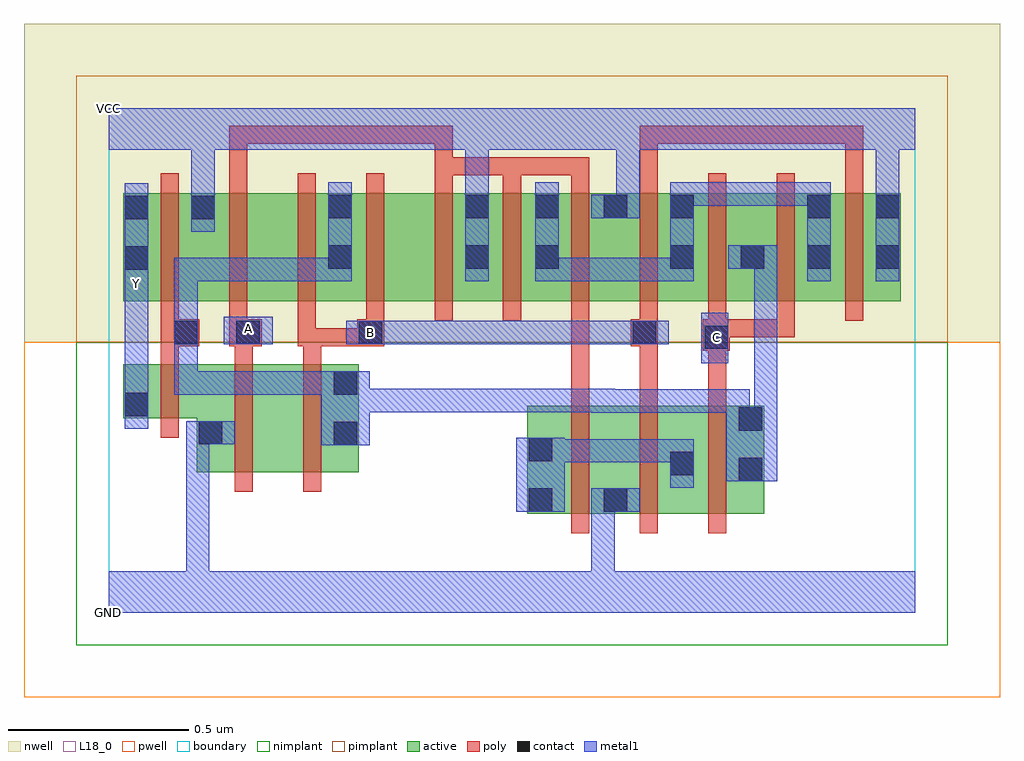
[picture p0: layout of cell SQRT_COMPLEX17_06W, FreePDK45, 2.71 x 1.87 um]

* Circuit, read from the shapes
.subckt SQRT_COMPLEX17_06W A B C GND VCC Y
M1 GND n1 Y VSUBS nfet w=0.15u l=0.05u
M2 n2 A GND VSUBS nfet w=0.3u l=0.05u
M3 n1 B n2 VSUBS nfet w=0.3u l=0.05u
M4 GND A n3 VSUBS nfet w=0.3u l=0.05u
M5 n3 B GND VSUBS nfet w=0.3u l=0.05u
M6 n1 C n3 VSUBS nfet w=0.3u l=0.05u
M7 VCC n1 Y n4 pfet w=0.3u l=0.05u
M8 n5 A VCC n4 pfet w=0.3u l=0.05u
M9 n1 B n5 n4 pfet w=0.3u l=0.05u
M10 n6 B n1 n4 pfet w=0.3u l=0.05u
M11 VCC A n6 n4 pfet w=0.3u l=0.05u
M12 n7 A VCC n4 pfet w=0.3u l=0.05u m=2
M13 n7 B VCC n4 pfet w=0.3u l=0.05u m=2
M14 n1 C n7 n4 pfet w=0.3u l=0.05u m=2
.ends

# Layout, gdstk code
import gdstk
lib = gdstk.Library(unit=1e-6, precision=1e-09)
def R(c, l, rs):  # rectangles x0, y0, x1, y1
    for r in rs: c.add(gdstk.rectangle(r[:2], r[2:], *l))
def A(c, l, x, y, w, h, nx, ny, dx, dy):  # array of equal rectangles
    R(c, l, [(x+i*dx, y+j*dy, x+i*dx+w, y+j*dy+h) for i in range(nx) for j in range(ny)])
active = (1, 0)
pwell = (2, 0)
nwell = (3, 0)
nimplant = (4, 0)
pimplant = (5, 0)
poly = (9, 0)
contact = (10, 0)
metal1 = (11, 0)
L18_0 = (18, 0)
boundary = (235, 0)

sqrt_complex17_06w = lib.new_cell('SQRT_COMPLEX17_06W')
R(sqrt_complex17_06w, active, [(1.162,0.275,1.445,0.575), (1.162,0.275,1.237,0.575), (1.37,0.275,1.63,0.575), (1.37,0.275,1.445,0.442), (1.555,0.275,1.82,0.575), (1.745,0.36,1.82,0.575), (1.555,0.377,1.63,0.572), (0.245,0.39,0.47,0.69), (0.47,0.39,0.695,0.69), (0.62,0.395,0.695,0.69), (0.245,0.462,0.32,0.652), (0.04,0.54,0.32,0.69), (0.04,0.54,0.115,0.69), (0.04,0.865,0.3,1.165), (0.04,0.865,0.115,1.165), (0.225,0.865,0.455,1.165), (0.455,0.865,0.68,1.165), (0.605,0.865,0.835,1.165), (0.835,0.865,1.06,1.165), (0.985,0.865,1.255,1.165), (1.18,0.865,1.445,1.165), (1.37,0.865,1.63,1.165), (1.555,0.865,1.825,1.165), (1.75,0.865,2.01,1.165), (1.935,0.865,2.2,1.165), (2.125,0.865,2.2,1.165), (0.605,0.882,0.68,1.165), (0.985,0.882,1.06,1.165), (1.18,0.882,1.255,1.165), (1.37,0.882,1.445,1.165), (1.555,0.882,1.63,1.165), (1.75,0.882,1.825,1.07), (1.935,0.882,2.01,1.165), (0.225,0.962,0.3,1.165)])
R(sqrt_complex17_06w, pwell, [(-0.235,-0.235,2.475,0.75)])
R(sqrt_complex17_06w, nwell, [(-0.235,0.75,2.475,1.635)])
R(sqrt_complex17_06w, nimplant, [(-0.09,-0.09,2.33,0.75)])
R(sqrt_complex17_06w, pimplant, [(-0.09,0.75,2.33,1.49)])
A(sqrt_complex17_06w, poly, 1.285, 0.22, 0.05, 0.41, 3, 1, 0.19, 0)
A(sqrt_complex17_06w, poly, 1.285, 0.765, 0.05, 0.095, 4, 1, 0.19, 0)
A(sqrt_complex17_06w, poly, 0.145, 0.81, 0.05, 0.41, 11, 1, 0.19, 0)
A(sqrt_complex17_06w, poly, 0.905, 1.17, 0.05, 0.095, 3, 1, 0.19, 0)
R(sqrt_complex17_06w, poly, [(0.35,0.335,0.4,0.745), (0.54,0.335,0.59,0.745), (0.145,0.485,0.195,0.745), (1.285,0.58,1.335,0.815), (1.475,0.58,1.525,0.79), (1.665,0.58,1.715,0.777), (0.145,0.695,0.195,0.79), (0.35,0.695,0.4,0.79), (0.54,0.695,0.59,0.79), (1.65,0.727,1.725,0.815), (0.145,0.74,0.252,0.815), (0.335,0.74,0.425,0.815), (0.525,0.74,0.575,0.86), (0.525,0.74,0.59,0.79), (0.54,0.74,0.59,0.79), (0.54,0.74,0.59,0.79), (0.54,0.74,0.74,0.79), (0.69,0.74,0.765,0.815), (1.45,0.74,1.525,0.815), (0.145,0.765,0.195,0.86), (0.335,0.765,0.385,0.86), (0.715,0.765,0.765,0.86), (1.285,0.765,1.335,0.815), (1.675,0.765,1.725,0.815), (1.675,0.765,1.725,0.815), (1.675,0.765,1.905,0.815), (1.855,0.765,1.905,0.815), (0.335,1.17,0.385,1.352), (1.475,1.17,1.525,1.352), (2.045,1.17,2.095,1.352), (0.905,1.215,1.145,1.265), (0.905,1.215,0.955,1.352), (1.095,1.215,1.145,1.265), (1.095,1.215,1.145,1.265), (1.095,1.215,1.145,1.265), (1.095,1.215,1.335,1.265), (1.285,1.215,1.335,1.265), (1.285,1.215,1.335,1.265), (1.285,1.215,1.335,1.265), (0.335,1.302,0.385,1.352), (0.335,1.302,0.385,1.352), (0.335,1.302,0.385,1.352), (0.335,1.302,0.607,1.352), (0.557,1.302,0.74,1.352), (0.557,1.302,0.607,1.352), (0.557,1.302,0.607,1.352), (0.557,1.302,0.607,1.352), (0.69,1.302,0.74,1.352), (0.69,1.302,0.955,1.352), (0.905,1.302,0.955,1.352), (0.905,1.302,0.955,1.352), (1.475,1.302,1.525,1.352), (1.475,1.302,1.525,1.352), (1.475,1.302,1.525,1.352), (1.475,1.302,1.772,1.352), (1.722,1.302,1.772,1.352), (1.722,1.302,1.772,1.352), (1.722,1.302,1.772,1.352), (1.722,1.302,1.962,1.352), (1.912,1.302,2.095,1.352), (1.912,1.302,1.962,1.352), (1.912,1.302,1.962,1.352), (1.912,1.302,1.962,1.352), (2.045,1.302,2.095,1.352)])
R(sqrt_complex17_06w, contact, [(1.167,0.28,1.232,0.345), (1.375,0.28,1.44,0.345), (1.75,0.365,1.815,0.43), (1.56,0.382,1.625,0.447), (1.167,0.42,1.232,0.485), (0.625,0.465,0.69,0.53), (0.25,0.467,0.315,0.532), (1.75,0.505,1.815,0.57), (0.045,0.545,0.11,0.61), (0.625,0.605,0.69,0.67), (1.655,0.732,1.72,0.797), (0.182,0.745,0.247,0.81), (0.355,0.745,0.42,0.81), (0.695,0.745,0.76,0.81), (1.455,0.745,1.52,0.81), (0.045,0.952,0.11,1.017), (0.61,0.955,0.675,1.02), (0.99,0.955,1.055,1.02), (1.185,0.955,1.25,1.02), (1.56,0.955,1.625,1.02), (1.755,0.955,1.82,1.02), (1.94,0.955,2.005,1.02), (2.13,0.955,2.195,1.02), (0.045,1.092,0.11,1.157), (0.23,1.092,0.295,1.157), (0.61,1.095,0.675,1.16), (0.99,1.095,1.055,1.16), (1.185,1.095,1.25,1.16), (1.375,1.095,1.44,1.16), (1.56,1.095,1.625,1.16), (1.94,1.095,2.005,1.16), (2.13,1.095,2.195,1.16)])
R(sqrt_complex17_06w, metal1, [(0,0,2.24,0.115), (0.215,0.05,0.28,0.115), (0.215,0.05,0.28,0.115), (0.215,0.05,0.28,0.532), (1.34,0.05,1.405,0.345), (1.132,0.28,1.267,0.485), (1.34,0.28,1.405,0.345), (1.34,0.28,1.405,0.345), (1.34,0.28,1.405,0.345), (1.34,0.28,1.405,0.345), (1.34,0.28,1.475,0.345), (1.56,0.347,1.625,0.482), (1.715,0.365,1.857,0.57), (1.202,0.417,1.267,0.482), (1.202,0.417,1.267,0.482), (1.202,0.417,1.487,0.482), (1.422,0.417,1.487,0.482), (1.422,0.417,1.505,0.482), (1.44,0.417,1.505,0.482), (1.44,0.417,1.625,0.482), (0.59,0.465,0.725,0.67), (0.215,0.467,0.28,0.532), (0.215,0.467,0.28,0.532), (0.215,0.467,0.35,0.532), (1.715,0.505,1.78,0.57), (1.715,0.505,1.78,0.62), (1.792,0.505,1.857,0.57), (1.792,0.505,1.857,0.57), (1.792,0.505,1.857,1.02), (0.045,0.51,0.11,0.645), (1.34,0.555,1.405,0.62), (1.34,0.555,1.405,0.62), (1.34,0.555,1.642,0.62), (1.34,0.555,1.405,0.622), (1.577,0.555,1.642,0.62), (1.577,0.555,1.78,0.62), (0.66,0.557,0.725,0.622), (0.66,0.557,0.725,0.622), (0.66,0.557,0.862,0.622), (0.797,0.557,0.862,0.622), (0.797,0.557,0.975,0.622), (0.91,0.557,0.975,0.622), (0.91,0.557,1,0.622), (0.935,0.557,1,0.622), (0.935,0.557,1.112,0.622), (1.047,0.557,1.112,0.622), (1.047,0.557,1.267,0.622), (1.202,0.557,1.267,0.622), (1.202,0.557,1.267,0.622), (1.202,0.557,1.267,0.622), (1.202,0.557,1.405,0.622), (0.045,0.58,0.11,0.912), (0.182,0.605,0.247,0.67), (0.182,0.605,0.385,0.67), (0.182,0.605,0.247,0.845), (0.32,0.605,0.385,0.67), (0.32,0.605,0.385,0.67), (0.32,0.605,0.385,0.67), (0.32,0.605,0.522,0.67), (0.457,0.605,0.522,0.67), (0.457,0.605,0.655,0.67), (1.645,0.692,1.72,0.832), (0.182,0.71,0.247,0.845), (0.32,0.745,0.455,0.822), (0.66,0.745,0.795,0.81), (0.73,0.745,0.862,0.81), (0.797,0.745,0.862,0.81), (0.797,0.745,0.975,0.81), (0.91,0.745,0.975,0.81), (0.91,0.745,1,0.81), (0.935,0.745,1,0.81), (0.935,0.745,1.112,0.81), (1.047,0.745,1.112,0.81), (1.047,0.745,1.267,0.81), (1.202,0.745,1.267,0.81), (1.202,0.745,1.267,0.81), (1.202,0.745,1.267,0.81), (1.202,0.745,1.485,0.81), (1.42,0.745,1.485,0.81), (1.42,0.745,1.485,0.81), (1.42,0.745,1.555,0.81), (0.182,0.78,0.247,0.845), (0.182,0.78,0.247,0.845), (0.182,0.78,0.247,0.985), (0.045,0.847,0.11,0.982), (0.045,0.917,0.11,0.982), (0.045,0.917,0.11,1.192), (0.182,0.92,0.247,0.985), (0.182,0.92,0.385,0.985), (0.32,0.92,0.385,0.985), (0.32,0.92,0.385,0.985), (0.32,0.92,0.385,0.985), (0.32,0.92,0.522,0.985), (0.457,0.92,0.522,0.985), (0.457,0.92,0.675,0.985), (0.61,0.92,0.675,1.195), (0.99,0.92,1.055,1.195), (1.185,0.92,1.25,0.985), (1.185,0.92,1.25,0.985), (1.185,0.92,1.25,1.195), (1.185,0.92,1.487,0.985), (1.422,0.92,1.487,0.985), (1.422,0.92,1.487,0.985), (1.422,0.92,1.487,0.985), (1.422,0.92,1.625,0.985), (1.56,0.92,1.625,1.195), (1.94,0.92,2.005,1.195), (2.13,0.92,2.195,1.195), (1.72,0.955,1.857,1.02), (0.23,1.057,0.295,1.192), (1.34,1.095,1.475,1.16), (1.41,1.095,1.475,1.35), (0.23,1.127,0.295,1.35), (0.99,1.13,1.055,1.35), (1.56,1.13,1.625,1.195), (1.56,1.13,1.625,1.195), (1.56,1.13,1.867,1.195), (1.802,1.13,1.867,1.195), (1.802,1.13,1.867,1.195), (1.802,1.13,1.867,1.195), (1.802,1.13,2.005,1.195), (1.94,1.13,2.005,1.195), (1.94,1.13,2.005,1.195), (2.13,1.13,2.195,1.195), (2.13,1.13,2.195,1.195), (2.13,1.13,2.195,1.35), (0,1.285,2.24,1.4), (0.23,1.285,0.295,1.35), (0.23,1.285,0.295,1.35), (0.99,1.285,1.055,1.35), (0.99,1.285,1.055,1.35), (1.41,1.285,1.475,1.35), (1.41,1.285,1.475,1.35)])
R(sqrt_complex17_06w, L18_0, [(0,0,2.24,0.115), (0.215,0.05,0.28,0.115), (0.215,0.05,0.28,0.115), (0.215,0.05,0.28,0.532), (1.34,0.05,1.405,0.345), (1.34,0.28,1.405,0.345), (1.34,0.28,1.405,0.345), (1.34,0.28,1.405,0.345), (1.34,0.28,1.405,0.345), (1.34,0.28,1.475,0.345), (0.215,0.467,0.28,0.532), (0.215,0.467,0.28,0.532), (0.215,0.467,0.35,0.532), (0.045,0.51,0.11,0.645), (0.045,0.58,0.11,0.912), (1.645,0.692,1.72,0.832), (1.655,0.732,1.72,0.797), (0.32,0.745,0.455,0.822), (0.66,0.745,0.795,0.81), (0.695,0.745,0.76,0.81), (0.73,0.745,0.862,0.81), (0.797,0.745,0.862,0.81), (0.797,0.745,0.975,0.81), (0.91,0.745,0.975,0.81), (0.91,0.745,1,0.81), (0.935,0.745,1,0.81), (0.935,0.745,1.112,0.81), (1.047,0.745,1.112,0.81), (1.047,0.745,1.267,0.81), (1.202,0.745,1.267,0.81), (1.202,0.745,1.267,0.81), (1.202,0.745,1.267,0.81), (1.202,0.745,1.485,0.81), (1.42,0.745,1.485,0.81), (1.42,0.745,1.485,0.81), (1.42,0.745,1.555,0.81), (0.355,0.757,0.42,0.822), (0.045,0.847,0.11,0.982), (0.045,0.882,0.11,0.947), (0.045,0.917,0.11,1.192), (0.045,0.917,0.11,0.982), (0.99,0.92,1.055,1.195), (2.13,0.92,2.195,1.195), (0.23,1.057,0.295,1.192), (1.34,1.095,1.475,1.16), (1.41,1.095,1.475,1.35), (0.23,1.127,0.295,1.35), (0.99,1.13,1.055,1.35), (2.13,1.13,2.195,1.195), (2.13,1.13,2.195,1.195), (2.13,1.13,2.195,1.35), (0,1.285,2.24,1.4), (0.23,1.285,0.295,1.35), (0.23,1.285,0.295,1.35), (0.99,1.285,1.055,1.35), (0.99,1.285,1.055,1.35), (1.41,1.285,1.475,1.35), (1.41,1.285,1.475,1.35)])
R(sqrt_complex17_06w, boundary, [(0,0,2.24,1.4)])
sqrt_complex17_06w.add(gdstk.Label('A', (0.387,0.79), layer=11, texttype=0))
sqrt_complex17_06w.add(gdstk.Label('B', (0.727,0.777), layer=11, texttype=0))
sqrt_complex17_06w.add(gdstk.Label('C', (1.687,0.765), layer=11, texttype=0))
sqrt_complex17_06w.add(gdstk.Label('Y', (0.077,0.915), layer=11, texttype=0))
sqrt_complex17_06w.add(gdstk.Label('VCC', (0,1.4), layer=11, texttype=0))
sqrt_complex17_06w.add(gdstk.Label('GND', (0,0), layer=11, texttype=0))

lib.write_gds('SQRT_COMPLEX17_06W.gds')
